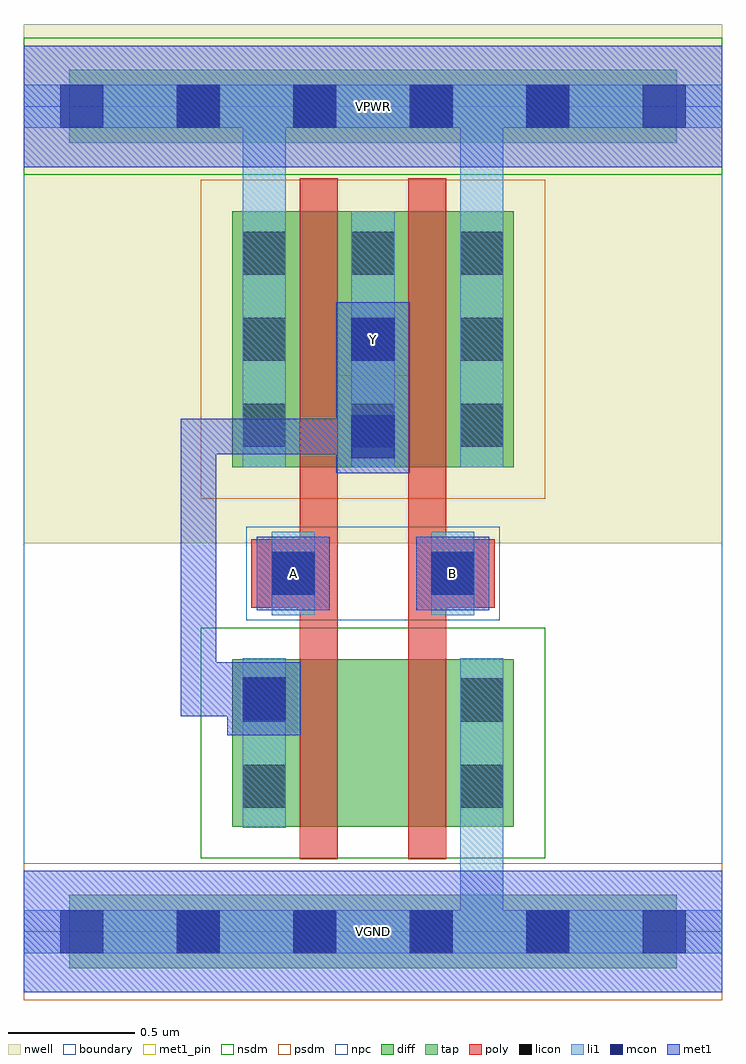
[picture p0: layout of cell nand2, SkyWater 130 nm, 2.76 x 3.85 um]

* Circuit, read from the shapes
.subckt nand2 A B VGND VPWR Y
XM1 n1 A Y VGND sky130_fd_pr__nfet_01v8 w=0.66 l=0.15
XM2 VGND B n1 VGND sky130_fd_pr__nfet_01v8 w=0.66 l=0.15
XM3 Y A VPWR VPWR sky130_fd_pr__pfet_01v8 w=1.01 l=0.15
XM4 VPWR B Y VPWR sky130_fd_pr__pfet_01v8 w=1.01 l=0.15
.ends

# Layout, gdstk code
import gdstk
lib = gdstk.Library(unit=1e-6, precision=1e-09)
def R(c, l, rs):  # rectangles x0, y0, x1, y1
    for r in rs: c.add(gdstk.rectangle(r[:2], r[2:], *l))
def A(c, l, x, y, w, h, nx, ny, dx, dy):  # array of equal rectangles
    R(c, l, [(x+i*dx, y+j*dy, x+i*dx+w, y+j*dy+h) for i in range(nx) for j in range(ny)])
nwell = (64, 20)
diff = (65, 20)
tap = (65, 44)
poly = (66, 20)
licon = (66, 44)
li1 = (67, 20)
mcon = (67, 44)
met1_pin = (68, 16)
met1 = (68, 20)
nsdm = (93, 44)
psdm = (94, 20)
npc = (95, 20)
boundary = (235, 4)

nand2 = lib.new_cell('nand2')
R(nand2, nwell, [(0,1.535,2.76,3.585)])
R(nand2, diff, [(0.825,0.415,1.935,1.075), (0.825,1.835,1.935,2.845)])
R(nand2, tap, [(0.18,-0.145,2.58,0.145), (0.18,3.115,2.58,3.405)])
R(nand2, poly, [(1.09,0.285,1.24,2.975), (1.52,0.285,1.67,2.975), (0.9,1.28,1.23,1.55), (1.53,1.28,1.86,1.55)])
A(nand2, licon, 0.605, -0.085, 0.17, 0.17, 4, 2, 0.46, 3.26)
A(nand2, licon, 0.865, 1.915, 0.17, 0.17, 3, 3, 0.43, 0.34)
R(nand2, licon, [(0.865,0.49,1.035,0.66), (1.725,0.49,1.895,0.66), (0.865,0.83,1.035,1), (1.725,0.83,1.895,1), (0.98,1.33,1.15,1.5), (1.61,1.33,1.78,1.5)])
A(nand2, li1, 0.865, 1.835, 0.17, 1.01, 3, 1, 0.43, 0)
R(nand2, li1, [(0,-0.085,2.76,0.085), (1.725,-0.085,1.895,1.08), (0.865,0.41,1.035,1.08), (1.725,0.41,1.895,1.08), (0.98,1.25,1.15,1.58), (1.61,1.25,1.78,1.58), (0.865,1.835,1.035,3.345), (1.725,1.835,1.895,3.345), (0,3.175,2.76,3.345)])
A(nand2, mcon, 0.145, -0.085, 0.17, 0.17, 6, 2, 0.46, 3.26)
R(nand2, mcon, [(0.865,0.835,1.035,1.005), (0.98,1.33,1.15,1.5), (1.61,1.33,1.78,1.5), (1.295,1.87,1.465,2.04), (1.295,2.255,1.465,2.425)])
R(nand2, met1_pin, [(0,-0.24,2.76,0.24), (0.92,1.27,1.21,1.56), (1.55,1.27,1.84,1.56), (1.235,2.195,1.525,2.485), (0,3.02,2.76,3.5)])
R(nand2, met1, [(0,-0.24,2.76,0.24), (0.805,0.775,1.095,1.065), (0.62,0.85,0.76,2.025), (0.62,0.85,0.875,0.99), (0.735,0.85,1.02,0.99), (0.76,0.85,0.805,1.065), (0.92,1.27,1.21,1.56), (1.55,1.27,1.84,1.56), (1.235,1.81,1.525,2.1), (0.62,1.885,1.45,2.025), (1.235,2.1,1.525,2.195), (1.235,2.195,1.525,2.485), (0,3.02,2.76,3.5)])
R(nand2, nsdm, [(0.7,0.29,2.06,1.2), (0,2.99,2.76,3.53)])
R(nand2, psdm, [(0,-0.27,2.76,0.27), (0.7,1.71,2.06,2.97)])
R(nand2, npc, [(0.88,1.23,1.88,1.6)])
R(nand2, boundary, [(0,0,2.76,3.26)])
nand2.add(gdstk.Label('A', (1.065,1.415), layer=68, texttype=5))
nand2.add(gdstk.Label('B', (1.695,1.415), layer=68, texttype=5))
nand2.add(gdstk.Label('Y', (1.38,2.34), layer=68, texttype=5))
nand2.add(gdstk.Label('VPWR', (1.38,3.26), layer=68, texttype=5))
nand2.add(gdstk.Label('VGND', (1.38,0), layer=68, texttype=5))
nand2.add(gdstk.Label('A', (1.065,1.415), layer=68, texttype=16))
nand2.add(gdstk.Label('B', (1.695,1.415), layer=68, texttype=16))
nand2.add(gdstk.Label('Y', (1.38,2.34), layer=68, texttype=16))
nand2.add(gdstk.Label('VPWR', (1.38,3.26), layer=68, texttype=16))
nand2.add(gdstk.Label('VGND', (1.38,0), layer=68, texttype=16))

lib.write_gds('nand2.gds')
